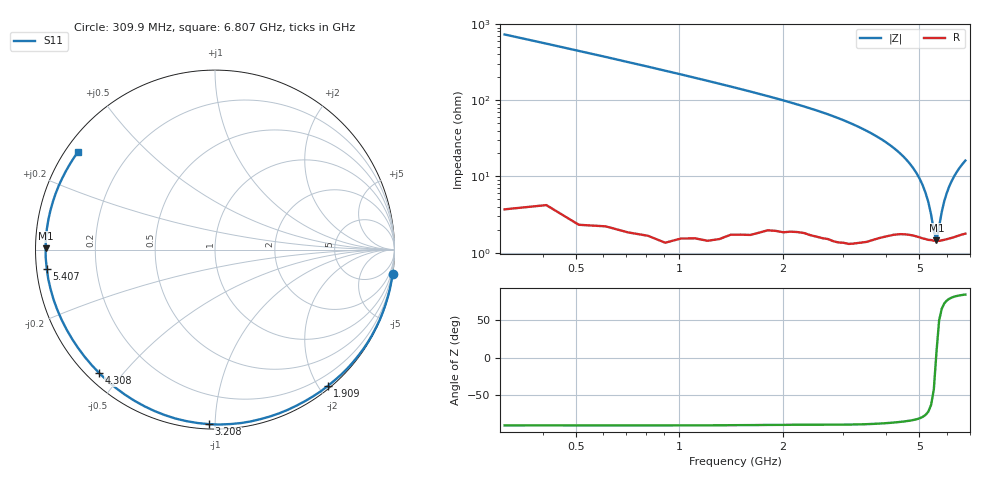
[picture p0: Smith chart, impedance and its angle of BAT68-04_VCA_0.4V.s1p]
! Infineon Technologies  Discrete & RF Semiconductors
! BAT68-04
! VCA = 0.4 V
! One-Port S-Parameters
# Hz  S  MA  R  50
!f  S11
!Hz  Mag  Ang
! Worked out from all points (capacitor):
!   66 points, 309.9 MHz to 6.807 GHz, reference 50 ohm
!   read as one part to ground: C = 698 fF near 309.9 MHz
!   lowest |Z| = 1.45 ohm at 5.607 GHz (marker M1)
!   series resonance near 5.594 GHz, so ESL is about 1.2 nH
!   S11 on the Smith chart (normalised r, x): 309.9 MHz: 0, -15; 1.909 GHz: 0.04, -2.12; 3.208 GHz: 0.03, -0.96; 4.308 GHz: 0.03, -0.43; 5.407 GHz: 0.03, -0.06; 6.807 GHz: 0.04, +0.32
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3.0985e8  0.9993 -7.8
5.0975e8  0.9988 -12.8
8.096e8  0.9979 -20.5
1.2094e9  0.9959 -31.1
1.6092e9  0.9913 -42.0
1.90905e9  0.9861 -50.5
2.009e9  0.9852 -53.4
2.4088e9  0.9805 -65.4
2.6087e9  0.979 -71.6
2.8086e9  0.9778 -78.2
3.0085e9  0.9757 -85.0
3.2084e9  0.9732 -92.1
3.4083e9  0.9689 -99.4
3.6082e9  0.9636 -106.8
3.90805e9  0.9543 -118.0
4.10795e9  0.9484 -125.6
4.30785e9  0.9433 -133.1
4.4078e9  0.9413 -136.9
4.6077e9  0.9393 -144.4
4.8076e9  0.9391 -151.8
5.0075e9  0.9404 -159.1
5.2074e9  0.9422 -166.4
5.4073e9  0.9434 -173.5
5.6072e9  0.944 179.6
5.8071e9  0.9439 173.0
6.007e9  0.9425 166.6
6.4068e9  0.9395 154.9
6.8066e9  0.9376 144.4
